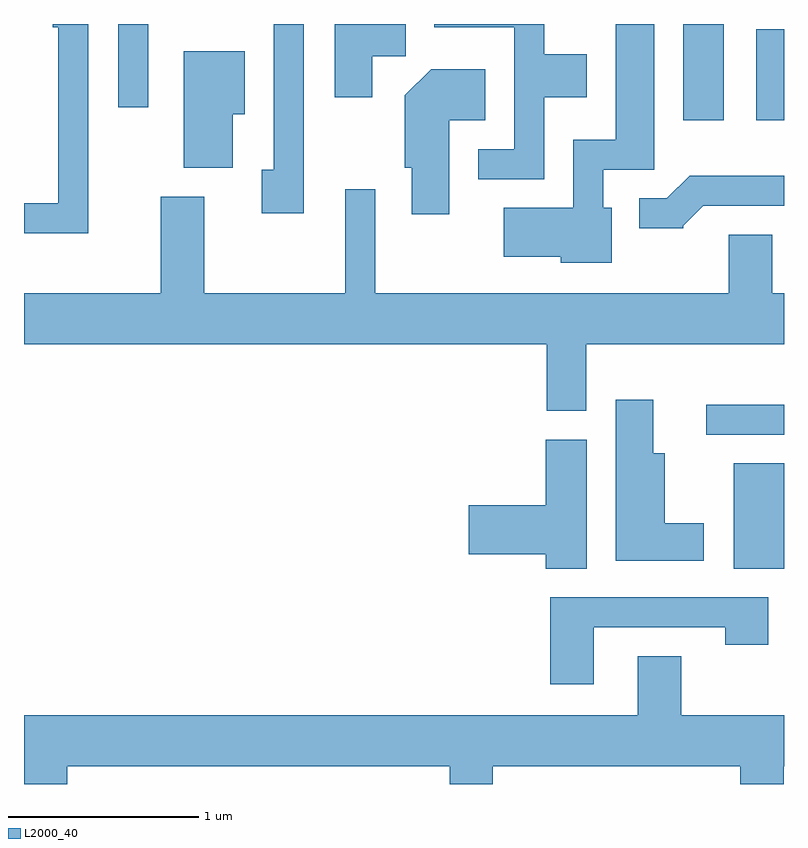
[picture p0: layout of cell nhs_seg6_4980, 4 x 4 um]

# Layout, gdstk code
import gdstk
lib = gdstk.Library(unit=1e-6, precision=1e-09)
def R(c, l, rs):  # rectangles x0, y0, x1, y1
    for r in rs: c.add(gdstk.rectangle(r[:2], r[2:], *l))
def P(c, l, *ps):  # polygons
    for p in ps: c.add(gdstk.Polygon(p, *l))
L2000_40 = (2000, 40)

nhs_seg6_4980 = lib.new_cell('nhs_seg6_4980')
R(nhs_seg6_4980, L2000_40, [(341.346,1553.296,341.611,1553.849), (341.203,1554.001,341.611,1554.159), (341.081,1555.656,341.294,1556.162), (341.466,1555.656,341.611,1556.134), (338.106,1555.723,338.264,1556.162)])
P(nhs_seg6_4980, L2000_40, [(340.704,1555.194),(340.659,1555.194),(340.659,1555.396),(340.929,1555.396),(340.929,1556.162),(340.726,1556.162),(340.726,1555.554),(340.501,1555.554),(340.501,1555.194),(340.136,1555.194),(340.136,1554.936),(340.436,1554.936),(340.436,1554.906),(340.704,1554.906)],
  [(339.444,1555.991),(339.619,1555.991),(339.619,1556.162),(339.246,1556.162),(339.246,1555.776),(339.444,1555.776)],
  [(340.349,1555.776),(340.574,1555.776),(340.574,1556.004),(340.349,1556.004),(340.349,1556.162),(339.771,1556.162),(339.771,1556.146),(340.191,1556.146),(340.191,1555.504),(340.003,1555.504),(340.003,1555.346),(340.349,1555.346)],
  [(337.949,1556.162),(337.761,1556.162),(337.761,1556.146),(337.791,1556.146),(337.791,1555.219),(337.611,1555.219),(337.611,1555.061),(337.949,1555.061)],
  [(339.084,1556.162),(338.926,1556.162),(338.926,1555.394),(338.861,1555.394),(338.861,1555.166),(339.084,1555.166)],
  [(338.709,1555.686),(338.774,1555.686),(338.774,1556.019),(338.451,1556.019),(338.451,1555.406),(338.709,1555.406)],
  [(339.849,1555.656),(340.039,1555.656),(340.039,1555.924),(339.754,1555.924),(339.616,1555.787),(339.616,1555.406),(339.651,1555.406),(339.651,1555.161),(339.849,1555.161)],
  [(341.08,1555.1),(341.187,1555.206),(341.611,1555.206),(341.611,1555.364),(341.114,1555.364),(340.994,1555.244),(340.848,1555.244),(340.848,1555.086),(341.08,1555.086)],
  [(340.569,1554.476),(341.611,1554.476),(341.611,1554.744),(341.549,1554.744),(341.549,1555.054),(341.321,1555.054),(341.321,1554.744),(339.459,1554.744),(339.459,1555.293),(339.301,1555.293),(339.301,1554.744),(338.559,1554.744),(338.559,1555.254),(338.331,1555.254),(338.331,1554.744),(337.611,1554.744),(337.611,1554.476),(340.361,1554.476),(340.361,1554.126),(340.569,1554.126)],
  [(341.189,1553.534),(340.984,1553.534),(340.984,1553.904),(340.924,1553.904),(340.924,1554.184),(340.726,1554.184),(340.726,1553.336),(341.189,1553.336)],
  [(340.574,1553.974),(340.356,1553.974),(340.356,1553.629),(339.951,1553.629),(339.951,1553.371),(340.356,1553.371),(340.356,1553.296),(340.574,1553.296)],
  [(340.609,1552.986),(341.301,1552.986),(341.301,1552.896),(341.529,1552.896),(341.529,1553.144),(340.381,1553.144),(340.381,1552.686),(340.609,1552.686)],
  [(337.839,1552.256),(339.851,1552.256),(339.851,1552.162),(340.079,1552.162),(340.079,1552.256),(341.381,1552.256),(341.381,1552.162),(341.609,1552.162),(341.609,1552.256),(341.611,1552.256),(341.611,1552.524),(341.069,1552.524),(341.069,1552.834),(340.841,1552.834),(340.841,1552.524),(337.611,1552.524),(337.611,1552.162),(337.839,1552.162)])

lib.write_gds('nhs_seg6_4980.gds')
